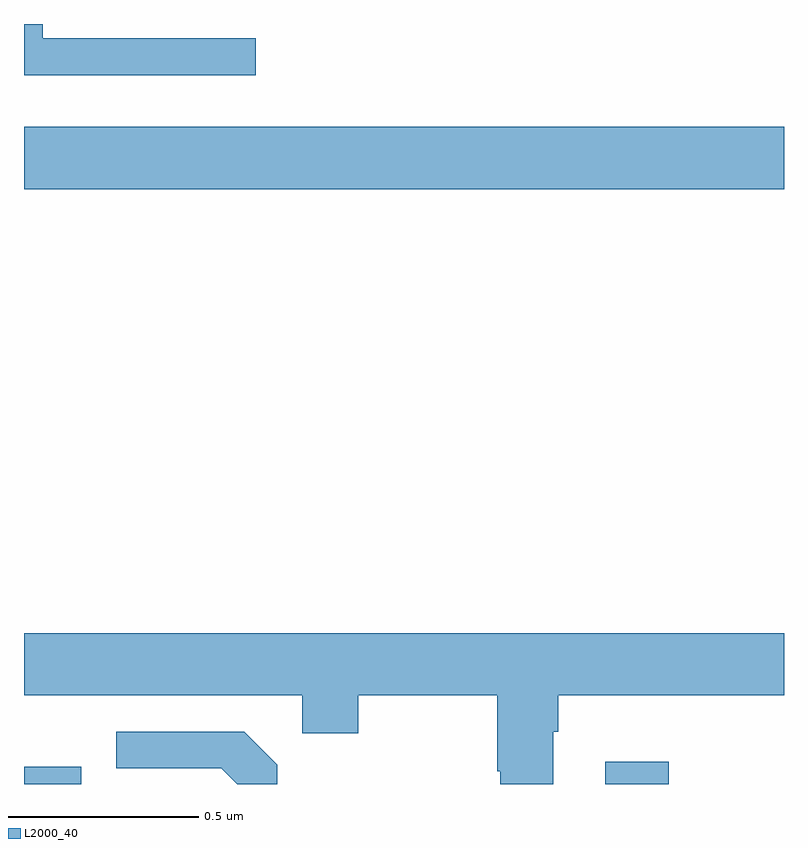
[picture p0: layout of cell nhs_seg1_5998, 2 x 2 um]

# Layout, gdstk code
import gdstk
lib = gdstk.Library(unit=1e-6, precision=1e-09)
def R(c, l, rs):  # rectangles x0, y0, x1, y1
    for r in rs: c.add(gdstk.rectangle(r[:2], r[2:], *l))
def P(c, l, *ps):  # polygons
    for p in ps: c.add(gdstk.Polygon(p, *l))
L2000_40 = (2000, 40)

nhs_seg1_5998 = lib.new_cell('nhs_seg1_5998')
R(nhs_seg1_5998, L2000_40, [(186,518.199,186.15,518.244), (187.529,518.199,187.697,518.257), (186,519.764,188,519.928)])
P(nhs_seg1_5998, L2000_40, [(186.61,520.161),(186.049,520.161),(186.049,520.199),(186,520.199),(186,520.064),(186.61,520.064)],
  [(187.393,518.336),(187.406,518.336),(187.406,518.432),(188,518.432),(188,518.596),(186,518.596),(186,518.432),(186.732,518.432),(186.732,518.333),(186.879,518.333),(186.879,518.432),(187.246,518.432),(187.246,518.233),(187.253,518.233),(187.253,518.199),(187.393,518.199)],
  [(186.666,518.25),(186.579,518.337),(186.243,518.337),(186.243,518.241),(186.519,518.241),(186.561,518.199),(186.666,518.199)])

lib.write_gds('nhs_seg1_5998.gds')
